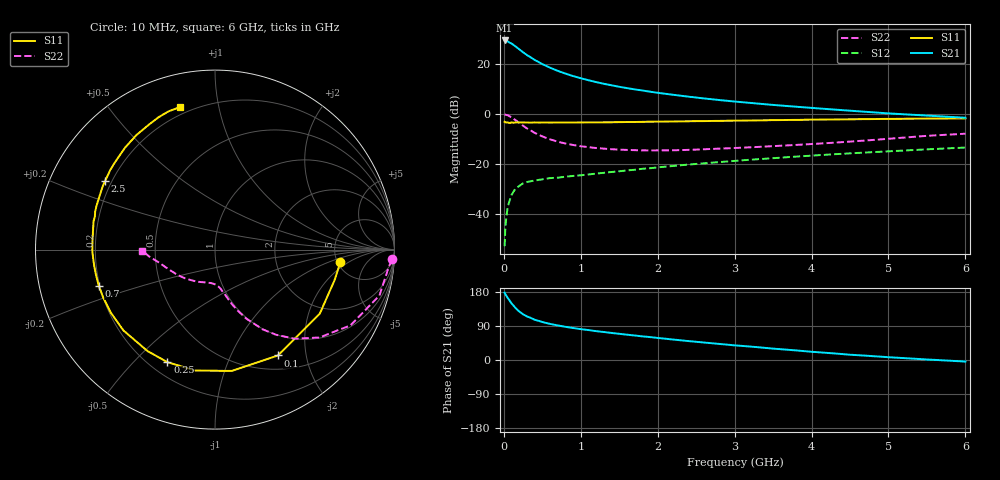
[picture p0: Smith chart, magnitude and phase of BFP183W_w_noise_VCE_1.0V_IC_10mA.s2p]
! Infineon Technologies  Discrete & RF Semiconductors
! BFP183W
! VCE =  1.0 V,  IC =  10 mA
! Common Emitter S-Parameters:  Jan 2017
# GHz  S  MA  R  50
!  f  S11  S21  S12  S22
! GHz  MAG  ANG  MAG  ANG  MAG  ANG  MAG  ANG
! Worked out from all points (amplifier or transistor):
!   77 points, 10 MHz to 6 GHz, reference 50 ohm
!   highest |S21| = 29.4 dB at 10 MHz (marker M1)
!   |S21| within 3 dB of that: start of sweep to 177.9 MHz
!   unconditionally stable (mu >= 1): 1.47 GHz to 4.961 GHz
!   at 130 MHz: K = 0.15, MSG = 29.1 dB, |S12| = -30.8 dB
!   at 2.2 GHz: K = 1.09, MAG = 12.4 dB, |S12| = -20.7 dB
!   at 6 GHz: K = 0.93, MSG = 6.0 dB, |S12| = -13.4 dB
!   lowest NFmin = 0.92 dB at 450 MHz
!   S11 on the Smith chart (normalised r, x): 10 MHz: 5.28, -1.47; 100 MHz: 0.69, -1.53; 250 MHz: 0.27, -0.63; 700 MHz: 0.20, -0.15; 2.5 GHz: 0.17, +0.28; 6 GHz: 0.16, +0.77
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0.01  0.7017 -5.8  29.54 177.7  0.0023 86.1  0.9869 -3.2
0.02  0.688 -14.1  29.14 173.5  0.0055 86.7  0.9705 -6.3
0.05  0.6842 -31.4  28.3 163.9  0.0135 76.2  0.9513 -15.6
0.1  0.6861 -59.3  25.7 149.2  0.0242 64.2  0.8648 -29.2
0.15  0.6824 -82.1  22.6 137.5  0.0322 54.9  0.7603 -40.1
0.2  0.6828 -99.3  19.67 128.0  0.0367 48.4  0.6658 -48.2
0.25  0.6808 -112.9  17.19 120.6  0.0414 43.6  0.5846 -54.3
0.3  0.679 -123.6  15.1 115.0  0.0439 40.1  0.518 -59.1
0.4  0.6807 -138.6  12.1 106.3  0.0471 36.1  0.4224 -65.6
0.5  0.6785 -148.9  9.947 100.2  0.0498 34.8  0.3579 -70.0
0.6  0.6776 -156.7  8.45 95.3  0.0526 34.7  0.3135 -73.1
0.7  0.6783 -162.7  7.299 91.3  0.0536 34.9  0.2808 -75.4
0.9  0.6792 -172.3  5.742 84.4  0.0581 36.5  0.2413 -79.2
1.1  0.6838 -179.4  4.746 78.9  0.0622 38.8  0.2184 -82.2
1.3  0.685 174.5  4.027 73.8  0.0671 40.1  0.2042 -85.4
1.5  0.69 169.5  3.507 69.1  0.072 42.0  0.1947 -89.2
2.1  0.7079 155.9  2.543 56.2  0.0891 44.8  0.1885 -102.2
2.5  0.7216 148.2  2.141 48.1  0.1009 45.5  0.1954 -112.0
3.1  0.741 138.0  1.727 37.1  0.1192 45.0  0.2133 -126.2
4.1  0.7758 123.2  1.295 20.3  0.1512 42.1  0.2574 -148.6
5.1  0.8037 112.1  1.011 6.2  0.1836 37.7  0.3299 -168.6
6  0.8177 103.8  0.845 -4.2  0.2146 32.7  0.4055 -179.0
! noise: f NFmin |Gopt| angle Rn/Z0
0.45  0.92  0.1  112  0.11
0.9  0.97  0.18  144  0.09
1.9  1.47  0.37  -176  0.07
2.4  1.72  0.44  -167  0.09
